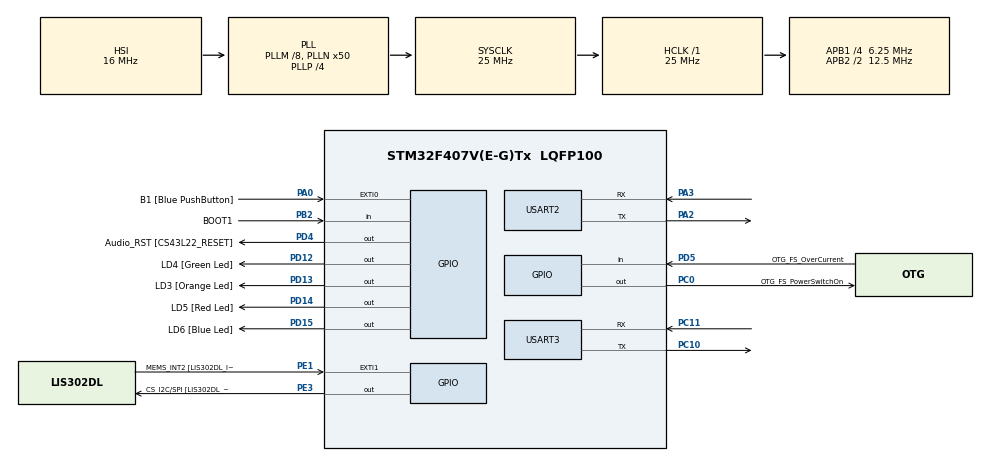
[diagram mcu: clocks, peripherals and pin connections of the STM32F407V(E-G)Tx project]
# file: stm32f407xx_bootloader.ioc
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Mcu.Family=STM32F4
Mcu.Name=STM32F407V(E-G)Tx
Mcu.Package=LQFP100
NVIC.PriorityGroup=NVIC_PRIORITYGROUP_0
PA0-WKUP.GPIO_Label=B1 [Blue PushButton]
PA0-WKUP.Signal=GPXTI0
PA10.GPIO_Label=OTG_FS_ID
PA10.GPIO_Mode=GPIO_MODE_AF_PP
PA10.GPIO_PuPd=GPIO_NOPULL
PA10.GPIO_Speed=GPIO_SPEED_FREQ_LOW
PA10.Signal=USB_OTG_FS_ID
PA11.GPIO_Label=OTG_FS_DM
PA11.GPIO_Mode=GPIO_MODE_AF_PP
PA11.GPIO_PuPd=GPIO_NOPULL
PA11.GPIO_Speed=GPIO_SPEED_FREQ_LOW
PA11.Signal=USB_OTG_FS_DM
PA12.GPIO_Label=OTG_FS_DP
PA12.GPIO_Mode=GPIO_MODE_AF_PP
PA12.GPIO_PuPd=GPIO_NOPULL
PA12.GPIO_Speed=GPIO_SPEED_FREQ_LOW
PA12.Signal=USB_OTG_FS_DP
PA13.GPIO_Label=SWDIO
PA13.Signal=SYS_JTMS-SWDIO
PA14.GPIO_Label=SWCLK
PA14.Signal=SYS_JTCK-SWCLK
PA2.Mode=Asynchronous
PA2.Signal=USART2_TX
PA3.Mode=Asynchronous
PA3.Signal=USART2_RX
PA4.GPIO_Label=I2S3_WS [CS43L22_LRCK]
PA4.GPIO_Mode=GPIO_MODE_AF_PP
PA4.GPIO_PuPd=GPIO_NOPULL
PA4.GPIO_Speed=GPIO_SPEED_FREQ_LOW
PA4.Signal=I2S3_WS
PA5.GPIO_Label=SPI1_SCK [LIS302DL_SCL/SPC]
PA5.GPIO_Mode=GPIO_MODE_AF_PP
PA5.GPIO_PuPd=GPIO_NOPULL
PA5.GPIO_Speed=GPIO_SPEED_FREQ_LOW
PA5.Signal=SPI1_SCK
PA6.GPIO_Label=SPI1_MISO [LIS302DL_SDO]
PA6.GPIO_Mode=GPIO_MODE_AF_PP
PA6.GPIO_PuPd=GPIO_NOPULL
PA6.GPIO_Speed=GPIO_SPEED_FREQ_LOW
PA6.Signal=SPI1_MISO
PA7.GPIO_Label=SPI1_MOSI [LIS302DL_SDA/SDI/SDO]
PA7.GPIO_Mode=GPIO_MODE_AF_PP
PA7.GPIO_PuPd=GPIO_NOPULL
PA7.GPIO_Speed=GPIO_SPEED_FREQ_LOW
PA7.Signal=SPI1_MOSI
PA9.GPIO_Label=VBUS_FS
PA9.GPIO_Mode=GPIO_MODE_INPUT
PA9.GPIO_PuPd=GPIO_NOPULL
PA9.Signal=USB_OTG_FS_VBUS
PB10.GPIO_Label=CLK_IN [MP45DT02_CLK]
PB10.GPIO_Mode=GPIO_MODE_AF_PP
PB10.GPIO_PuPd=GPIO_NOPULL
PB10.GPIO_Speed=GPIO_SPEED_FREQ_LOW
PB10.Signal=I2S2_CK
PB2.GPIO_Label=BOOT1
PB2.GPIO_Mode=GPIO_MODE_INPUT
PB2.GPIO_PuPd=GPIO_NOPULL
PB2.Signal=GPIO_Input
PB3.GPIO_Label=SWO
PB3.Signal=SYS_JTDO-SWO
PB6.GPIO_Label=Audio_SCL [CS43L22_SCL]
PB6.GPIO_Mode=GPIO_MODE_AF_OD
PB6.GPIO_PuPd=GPIO_NOPULL
PB6.GPIO_Speed=GPIO_SPEED_FREQ_LOW
PB6.Signal=I2C1_SCL
PB9.GPIO_Label=Audio_SDA [CS43L22_SDA]
PB9.GPIO_Mode=GPIO_MODE_AF_OD
PB9.GPIO_PuPd=GPIO_NOPULL
PB9.GPIO_Speed=GPIO_SPEED_FREQ_LOW
PB9.Signal=I2C1_SDA
PC0.GPIO_Label=OTG_FS_PowerSwitchOn
PC0.GPIO_PuPd=GPIO_NOPULL
PC0.GPIO_Speed=GPIO_SPEED_FREQ_LOW
PC0.PinState=GPIO_PIN_SET
PC0.Signal=GPIO_Output
PC10.Mode=Asynchronous
PC10.Signal=USART3_TX
PC11.Mode=Asynchronous
PC11.Signal=USART3_RX
PC12.GPIO_Label=I2S3_SD [CS43L22_SDIN]
PC12.GPIO_Mode=GPIO_MODE_AF_PP
PC12.GPIO_PuPd=GPIO_NOPULL
PC12.GPIO_Speed=GPIO_SPEED_FREQ_LOW
PC12.Signal=I2S3_SD
PC14-OSC32_IN.GPIO_Label=PC14-OSC32_IN
PC14-OSC32_IN.Signal=RCC_OSC32_IN
PC15-OSC32_OUT.GPIO_Label=PC15-OSC32_OUT
PC15-OSC32_OUT.Signal=RCC_OSC32_OUT
PC3.GPIO_Label=PDM_OUT [MP45DT02_DOUT]
PC3.GPIO_Mode=GPIO_MODE_AF_PP
PC3.GPIO_PuPd=GPIO_NOPULL
PC3.GPIO_Speed=GPIO_SPEED_FREQ_LOW
PC3.Signal=I2S2_SD
PC7.GPIO_Label=I2S3_MCK [CS43L22_MCLK]
PC7.GPIO_Mode=GPIO_MODE_AF_PP
PC7.GPIO_PuPd=GPIO_NOPULL
PC7.GPIO_Speed=GPIO_SPEED_FREQ_LOW
PC7.Signal=I2S3_MCK
PD12.GPIO_Label=LD4 [Green Led]
PD12.GPIO_PuPd=GPIO_NOPULL
PD12.GPIO_Speed=GPIO_SPEED_FREQ_LOW
PD12.Signal=GPIO_Output
PD13.GPIO_Label=LD3 [Orange Led]
PD13.GPIO_PuPd=GPIO_NOPULL
PD13.GPIO_Speed=GPIO_SPEED_FREQ_LOW
PD13.Signal=GPIO_Output
PD14.GPIO_Label=LD5 [Red Led]
PD14.GPIO_PuPd=GPIO_NOPULL
PD14.GPIO_Speed=GPIO_SPEED_FREQ_LOW
PD14.Signal=GPIO_Output
PD15.GPIO_Label=LD6 [Blue Led]
PD15.GPIO_PuPd=GPIO_NOPULL
PD15.GPIO_Speed=GPIO_SPEED_FREQ_LOW
PD15.Signal=GPIO_Output
PD4.GPIO_Label=Audio_RST [CS43L22_RESET]
PD4.GPIO_PuPd=GPIO_NOPULL
PD4.GPIO_Speed=GPIO_SPEED_FREQ_LOW
PD4.Signal=GPIO_Output
PD5.GPIO_Label=OTG_FS_OverCurrent
PD5.GPIO_Mode=GPIO_MODE_INPUT
PD5.GPIO_PuPd=GPIO_NOPULL
PD5.Signal=GPIO_Input
PE1.GPIO_Label=MEMS_INT2 [LIS302DL_INT2]
PE1.GPIO_ModeDefaultEXTI=GPIO_MODE_EVT_RISING
PE1.GPIO_PuPd=GPIO_NOPULL
PE1.Signal=GPXTI1
PE3.GPIO_Label=CS_I2C/SPI [LIS302DL_CS_I2C/SPI]
PE3.GPIO_PuPd=GPIO_NOPULL
PE3.GPIO_Speed=GPIO_SPEED_FREQ_LOW
PE3.Signal=GPIO_Output
PH0-OSC_IN.GPIO_Label=PH0-OSC_IN
PH0-OSC_IN.Signal=RCC_OSC_IN
PH1-OSC_OUT.GPIO_Label=PH1-OSC_OUT
PH1-OSC_OUT.Signal=RCC_OSC_OUT
ProjectManager.HeapSize=0x200
ProjectManager.StackSize=0x400
ProjectManager.TargetToolchain=MDK-ARM V5.32
RCC.48MHZClocksFreq_Value=14285714.285714285
RCC.AHBFreq_Value=25000000
RCC.APB1CLKDivider=RCC_HCLK_DIV4
RCC.APB1Freq_Value=6250000
RCC.APB1TimFreq_Value=12500000
RCC.APB2CLKDivider=RCC_HCLK_DIV2
RCC.APB2Freq_Value=12500000
RCC.APB2TimFreq_Value=25000000
RCC.CortexFreq_Value=25000000
RCC.HCLKFreq_Value=25000000
RCC.HSE_VALUE=8000000
RCC.HSI_VALUE=16000000
RCC.LSE_VALUE=32768
RCC.PLLM=8
RCC.PLLN=50
RCC.PLLP=RCC_PLLP_DIV4
RCC.PLLQ=7
RCC.SYSCLKFreq_VALUE=25000000
RCC.SYSCLKSource=RCC_SYSCLKSOURCE_PLLCLK
RCC.VCOOutputFreq_Value=100000000
USART2.VirtualMode=VM_ASYNC
USART3.VirtualMode=VM_ASYNC
VP_CRC_VS_CRC.Mode=CRC_Activate
board=STM32F407G-DISC1

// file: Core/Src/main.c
/* USER CODE BEGIN Header */
/**
  ******************************************************************************
  * @file           : main.c
  * @brief          : Main program body
  ******************************************************************************
  * @attention
  *
  * Copyright (c) 2023 STMicroelectronics.
  * All rights reserved.
  *
  * This software is licensed under terms that can be found in the LICENSE file
  * in the root directory of this software component.
  * If no LICENSE file comes with this software, it is provided AS-IS.
  *
  ******************************************************************************
  */
/* USER CODE END Header */

/* USER CODE BEGIN Includes */

#include <stdarg.h>
#include <string.h>
#include <stdio.h>	/* vsprintf */

#include "main.h"
#include "stm32f4xx_hal.h"

/* USER CODE END Includes */

/* USER CODE BEGIN PM */

#define BL_DEBUG_MSG_EN
#define D_UART					&huart3		/* Debug USART */
#define C_UART					&huart2		/* Virtual COM Port USART */
#define BL_RX_LEN				200
#define MAX_NUM_OF_SECTORS		12			/* STM32F407xx MCUs specific */

/* Flash option control register */
#define FLASH_OPTCR				(*(uint32_t volatile *)0x40023C14)

/* USER CODE END PM */

CRC_HandleTypeDef hcrc;

UART_HandleTypeDef huart2;
UART_HandleTypeDef huart3;

/* USER CODE BEGIN PV */

char data[] = "Message from bootloader\r\n";
uint8_t blRxBuffer[BL_RX_LEN];

uint8_t supportedCmds[] = {
	BL_GET_VER,
	BL_GET_HELP,
	BL_GET_CID,
	BL_GO_TO_ADDR,
	BL_ERASE_FLASH,
	BL_READ_MEM,
	BL_WRITE_MEM,
	BL_GET_RDP_LEVEL,
	BL_SET_RDP_LEVEL,
	BL_ENABLE_WRP,
	BL_DISABLE_WRP,
	BL_GET_WRP_STATUS,
	BL_READ_OTP,
};

/* USER CODE END PV */

void SystemClock_Config(void);
static void MX_GPIO_Init(void);
static void MX_CRC_Init(void);
static void MX_USART2_UART_Init(void);
static void MX_USART3_UART_Init(void);
/* USER CODE BEGIN PFP */

static void Print_Msg(char *format, ...);

/* USER CODE END PFP */

int main(void)
{

  /* MCU Configuration--------------------------------------------------------*/

  /* Reset of all peripherals, Initializes the Flash interface and the Systick. */
  HAL_Init();

  /* Configure the system clock */
  SystemClock_Config();

  /* Initialize all configured peripherals */
  MX_GPIO_Init();
  MX_CRC_Init();
  MX_USART2_UART_Init();
  MX_USART3_UART_Init();
  /* USER CODE BEGIN 2 */

	if (HAL_GPIO_ReadPin(B1_GPIO_Port, B1_Pin) == GPIO_PIN_SET)
	{
		Print_Msg("BL_DEBUG_MSG: Button pressed ... going to BL mode\n\r");

		/* Continue in the bootloader mode */
		Bootloader_UART_Read_Data();
	}
	else
	{
		Print_Msg("BL_DEBUG_MSG:: Button not pressed ... executing user application\n\r");
		Bootloader_Jump_To_User_App();
	}

  /* USER CODE END 2 */

  /* Infinite loop */
  while (1)
  {

  }
}

void Bootloader_UART_Read_Data(void)
{
	uint8_t rcvLen = 0;

	while (1)
	{
		memset(blRxBuffer, 0, 200);

		/* Read and decode the command coming from the host */

		/* First, read the first byte (i.e., the "Length to follow" field ) */
		HAL_UART_Receive(C_UART, blRxBuffer, 1, HAL_MAX_DELAY);
		rcvLen = blRxBuffer[0];	/* Number of the remaining bytes to read */

		/* Second, read the remaining bytes, first of which is the "Command code" */
		HAL_UART_Receive(C_UART, &blRxBuffer[1], rcvLen, HAL_MAX_DELAY);

		/* Decode the command code */
		switch (blRxBuffer[1])
		{
			case BL_GET_VER:
				Bootloader_GetVer_Cmd_Handler(blRxBuffer);
				break;
			case BL_GET_HELP:
				Bootloader_GetHelp_Cmd_Handler(blRxBuffer);
				break;
			case BL_GET_CID:
				Bootloader_GetCID_Cmd_Handler(blRxBuffer);
				break;
			case BL_GO_TO_ADDR:
				Bootloader_GoToAddr_Cmd_Handler(blRxBuffer);
				break;
			case BL_ERASE_FLASH:
				Bootloader_EraseFlash_Cmd_Handler(blRxBuffer);
				break;
			case BL_READ_MEM:
				Bootloader_ReadMem_Cmd_Handler(blRxBuffer);
				break;
			case BL_WRITE_MEM:
				Bootloader_WriteMem_Cmd_Handler(blRxBuffer);
				break;
			case BL_GET_RDP_LEVEL:
				Bootloader_GetRDPLevel_Cmd_Handler(blRxBuffer);
				break;
			case BL_SET_RDP_LEVEL:
				Bootloader_SetRDPLevel_Cmd_Handler(blRxBuffer);
				break;
			case BL_ENABLE_WRP:
				Bootloader_EnableWRP_Cmd_Handler(blRxBuffer);
				break;
			case BL_DISABLE_WRP:
				Bootloader_DisableWRP_Cmd_Handler(blRxBuffer);
				break;
			case BL_GET_WRP_STATUS:
				Bootloader_GetWRPStatus_Cmd_Handler(blRxBuffer);
				break;
			case BL_READ_OTP:
				Bootloader_ReadOTP_Cmd_Handler(blRxBuffer);
				break;
			default:
				Print_Msg("BL_DEBUG_MSG: Invalid command code received from the host\n");
				break;
		}
	}
}

/* Jump to the user application.
 * Here, we are assuming that the FLASH_SECTOR2_BASE_ADDRESS is where the user
 * application is stored
 * Note: Make sure to uncomment 'USER_VECT_TAB_ADDRESS' macro in the
 *       system_stm32f4xx.c file since we are relocating the vector table.
 */
void Bootloader_Jump_To_User_App(void)
{
	/* Function pointer to hold the address ofthe reset handler of the user app */
	void (*appResetHandler)(void);

	Print_Msg("BL_DEBUG_MSG: Bootloader_Jump_To_User_App()\n");

	/* 1. Configure the MSP by reading the value from the base address of the sector 2.
	 *    The very first element of the vector table holds the initial value of the msp.
	 */
	uint32_t msp = *(volatile uint32_t *)FLASH_SECTOR2_BASE_ADDRESS;
	Print_Msg("BL_DEBUG_MSG: MSP: %#x\n", msp);

	/* This function comes from CMSIS */
	__set_MSP(msp);

	//SCB->VTOR = FLASH_SECTOR1_BASE_ADDRESS;

	/* 2. Fetch the address of the Reset_Handler() of the user application from
	 *    the location FLASH_SECTOR2_BASE_ADDRESS+4
	 */
	uint32_t resetHandlerAddr = *(volatile uint32_t *)(FLASH_SECTOR2_BASE_ADDRESS + 4);

	appResetHandler = (void *)resetHandlerAddr;

	Print_Msg("BL_DEBUG_MSG: User application Reset_Handler() address: %#x\n", appResetHandler);

	/* Jumpt to the Reset_Handler() of the user application */
	appResetHandler();
}

/* Print a formatted string to console over USART for debugging */
void Print_Msg(char *format, ...)
{
#ifdef BL_DEBUG_MSG_EN
	char str[80];

	/* Extract the argument list using VA APIs */
	va_list args;
	va_start(args, format);
	vsprintf(str, format, args);
	HAL_UART_Transmit(D_UART, (uint8_t *)str, strlen(str), HAL_MAX_DELAY);
	va_end(args);
#endif
}

void SystemClock_Config(void)
{
  RCC_OscInitTypeDef RCC_OscInitStruct = {0};
  RCC_ClkInitTypeDef RCC_ClkInitStruct = {0};

  /** Configure the main internal regulator output voltage
  */
  __HAL_RCC_PWR_CLK_ENABLE();
  __HAL_PWR_VOLTAGESCALING_CONFIG(PWR_REGULATOR_VOLTAGE_SCALE1);

  /** Initializes the RCC Oscillators according to the specified parameters
  * in the RCC_OscInitTypeDef structure.
  */
  RCC_OscInitStruct.OscillatorType = RCC_OSCILLATORTYPE_HSI;
  RCC_OscInitStruct.HSIState = RCC_HSI_ON;
  RCC_OscInitStruct.HSICalibrationValue = RCC_HSICALIBRATION_DEFAULT;
  RCC_OscInitStruct.PLL.PLLState = RCC_PLL_ON;
  RCC_OscInitStruct.PLL.PLLSource = RCC_PLLSOURCE_HSI;
  RCC_OscInitStruct.PLL.PLLM = 8;
  RCC_OscInitStruct.PLL.PLLN = 50;
  RCC_OscInitStruct.PLL.PLLP = RCC_PLLP_DIV4;
  RCC_OscInitStruct.PLL.PLLQ = 7;
  if (HAL_RCC_OscConfig(&RCC_OscInitStruct) != HAL_OK)
  {
    Error_Handler();
  }

  /** Initializes the CPU, AHB and APB buses clocks
  */
  RCC_ClkInitStruct.ClockType = RCC_CLOCKTYPE_HCLK|RCC_CLOCKTYPE_SYSCLK
                              |RCC_CLOCKTYPE_PCLK1|RCC_CLOCKTYPE_PCLK2;
  RCC_ClkInitStruct.SYSCLKSource = RCC_SYSCLKSOURCE_PLLCLK;
  RCC_ClkInitStruct.AHBCLKDivider = RCC_SYSCLK_DIV1;
  RCC_ClkInitStruct.APB1CLKDivider = RCC_HCLK_DIV4;
  RCC_ClkInitStruct.APB2CLKDivider = RCC_HCLK_DIV2;

  if (HAL_RCC_ClockConfig(&RCC_ClkInitStruct, FLASH_LATENCY_0) != HAL_OK)
  {
    Error_Handler();
  }
}

static void MX_CRC_Init(void)
{

  hcrc.Instance = CRC;
  if (HAL_CRC_Init(&hcrc) != HAL_OK)
  {
    Error_Handler();
  }

}

static void MX_USART2_UART_Init(void)
{

  huart2.Instance = USART2;
  huart2.Init.BaudRate = 115200;
  huart2.Init.WordLength = UART_WORDLENGTH_8B;
  huart2.Init.StopBits = UART_STOPBITS_1;
  huart2.Init.Parity = UART_PARITY_NONE;
  huart2.Init.Mode = UART_MODE_TX_RX;
  huart2.Init.HwFlowCtl = UART_HWCONTROL_NONE;
  huart2.Init.OverSampling = UART_OVERSAMPLING_16;
  if (HAL_UART_Init(&huart2) != HAL_OK)
  {
    Error_Handler();
  }

}

static void MX_USART3_UART_Init(void)
{

  huart3.Instance = USART3;
  huart3.Init.BaudRate = 115200;
  huart3.Init.WordLength = UART_WORDLENGTH_8B;
  huart3.Init.StopBits = UART_STOPBITS_1;
  huart3.Init.Parity = UART_PARITY_NONE;
  huart3.Init.Mode = UART_MODE_TX_RX;
  huart3.Init.HwFlowCtl = UART_HWCONTROL_NONE;
  huart3.Init.OverSampling = UART_OVERSAMPLING_16;
  if (HAL_UART_Init(&huart3) != HAL_OK)
  {
    Error_Handler();
  }

}

static void MX_GPIO_Init(void)
{
  GPIO_InitTypeDef GPIO_InitStruct = {0};

  /* GPIO Ports Clock Enable */
  __HAL_RCC_GPIOE_CLK_ENABLE();
  __HAL_RCC_GPIOC_CLK_ENABLE();
  __HAL_RCC_GPIOH_CLK_ENABLE();
  __HAL_RCC_GPIOA_CLK_ENABLE();
  __HAL_RCC_GPIOB_CLK_ENABLE();
  __HAL_RCC_GPIOD_CLK_ENABLE();

  /*Configure GPIO pin Output Level */
  HAL_GPIO_WritePin(CS_I2C_SPI_GPIO_Port, CS_I2C_SPI_Pin, GPIO_PIN_RESET);

  /*Configure GPIO pin Output Level */
  HAL_GPIO_WritePin(OTG_FS_PowerSwitchOn_GPIO_Port, OTG_FS_PowerSwitchOn_Pin, GPIO_PIN_SET);

  /*Configure GPIO pin Output Level */
  HAL_GPIO_WritePin(GPIOD, LD4_Pin|LD3_Pin|LD5_Pin|LD6_Pin
                          |Audio_RST_Pin, GPIO_PIN_RESET);

  /*Configure GPIO pin : CS_I2C_SPI_Pin */
  GPIO_InitStruct.Pin = CS_I2C_SPI_Pin;
  GPIO_InitStruct.Mode = GPIO_MODE_OUTPUT_PP;
  GPIO_InitStruct.Pull = GPIO_NOPULL;
  GPIO_InitStruct.Speed = GPIO_SPEED_FREQ_LOW;
  HAL_GPIO_Init(CS_I2C_SPI_GPIO_Port, &GPIO_InitStruct);

  /*Configure GPIO pin : OTG_FS_PowerSwitchOn_Pin */
  GPIO_InitStruct.Pin = OTG_FS_PowerSwitchOn_Pin;
  GPIO_InitStruct.Mode = GPIO_MODE_OUTPUT_PP;
  GPIO_InitStruct.Pull = GPIO_NOPULL;
  GPIO_InitStruct.Speed = GPIO_SPEED_FREQ_LOW;
  HAL_GPIO_Init(OTG_FS_PowerSwitchOn_GPIO_Port, &GPIO_InitStruct);

  /*Configure GPIO pin : PDM_OUT_Pin */
  GPIO_InitStruct.Pin = PDM_OUT_Pin;
  GPIO_InitStruct.Mode = GPIO_MODE_AF_PP;
  GPIO_InitStruct.Pull = GPIO_NOPULL;
  GPIO_InitStruct.Speed = GPIO_SPEED_FREQ_LOW;
  GPIO_InitStruct.Alternate = GPIO_AF5_SPI2;
  HAL_GPIO_Init(PDM_OUT_GPIO_Port, &GPIO_InitStruct);

  /*Configure GPIO pin : B1_Pin */
  GPIO_InitStruct.Pin = B1_Pin;
  GPIO_InitStruct.Mode = GPIO_MODE_IT_RISING;
  GPIO_InitStruct.Pull = GPIO_NOPULL;
  HAL_GPIO_Init(B1_GPIO_Port, &GPIO_InitStruct);

  /*Configure GPIO pin : I2S3_WS_Pin */
  GPIO_InitStruct.Pin = I2S3_WS_Pin;
  GPIO_InitStruct.Mode = GPIO_MODE_AF_PP;
  GPIO_InitStruct.Pull = GPIO_NOPULL;
  GPIO_InitStruct.Speed = GPIO_SPEED_FREQ_LOW;
  GPIO_InitStruct.Alternate = GPIO_AF6_SPI3;
  HAL_GPIO_Init(I2S3_WS_GPIO_Port, &GPIO_InitStruct);

  /*Configure GPIO pins : SPI1_SCK_Pin SPI1_MISO_Pin SPI1_MOSI_Pin */
  GPIO_InitStruct.Pin = SPI1_SCK_Pin|SPI1_MISO_Pin|SPI1_MOSI_Pin;
  GPIO_InitStruct.Mode = GPIO_MODE_AF_PP;
  GPIO_InitStruct.Pull = GPIO_NOPULL;
  GPIO_InitStruct.Speed = GPIO_SPEED_FREQ_LOW;
  GPIO_InitStruct.Alternate = GPIO_AF5_SPI1;
  HAL_GPIO_Init(GPIOA, &GPIO_InitStruct);

  /*Configure GPIO pin : BOOT1_Pin */
  GPIO_InitStruct.Pin = BOOT1_Pin;
  GPIO_InitStruct.Mode = GPIO_MODE_INPUT;
  GPIO_InitStruct.Pull = GPIO_NOPULL;
  HAL_GPIO_Init(BOOT1_GPIO_Port, &GPIO_InitStruct);

  /*Configure GPIO pin : CLK_IN_Pin */
  GPIO_InitStruct.Pin = CLK_IN_Pin;
  GPIO_InitStruct.Mode = GPIO_MODE_AF_PP;
  GPIO_InitStruct.Pull = GPIO_NOPULL;
  GPIO_InitStruct.Speed = GPIO_SPEED_FREQ_LOW;
  GPIO_InitStruct.Alternate = GPIO_AF5_SPI2;
  HAL_GPIO_Init(CLK_IN_GPIO_Port, &GPIO_InitStruct);

  /*Configure GPIO pins : LD4_Pin LD3_Pin LD5_Pin LD6_Pin
                           Audio_RST_Pin */
  GPIO_InitStruct.Pin = LD4_Pin|LD3_Pin|LD5_Pin|LD6_Pin
                          |Audio_RST_Pin;
  GPIO_InitStruct.Mode = GPIO_MODE_OUTPUT_PP;
  GPIO_InitStruct.Pull = GPIO_NOPULL;
  GPIO_InitStruct.Speed = GPIO_SPEED_FREQ_LOW;
  HAL_GPIO_Init(GPIOD, &GPIO_InitStruct);

  /*Configure GPIO pins : I2S3_MCK_Pin I2S3_SD_Pin */
  GPIO_InitStruct.Pin = I2S3_MCK_Pin|I2S3_SD_Pin;
  GPIO_InitStruct.Mode = GPIO_MODE_AF_PP;
  GPIO_InitStruct.Pull = GPIO_NOPULL;
  GPIO_InitStruct.Speed = GPIO_SPEED_FREQ_LOW;
  GPIO_InitStruct.Alternate = GPIO_AF6_SPI3;
  HAL_GPIO_Init(GPIOC, &GPIO_InitStruct);

  /*Configure GPIO pin : VBUS_FS_Pin */
  GPIO_InitStruct.Pin = VBUS_FS_Pin;
  GPIO_InitStruct.Mode = GPIO_MODE_INPUT;
  GPIO_InitStruct.Pull = GPIO_NOPULL;
  HAL_GPIO_Init(VBUS_FS_GPIO_Port, &GPIO_InitStruct);

  /*Configure GPIO pins : OTG_FS_ID_Pin OTG_FS_DM_Pin OTG_FS_DP_Pin */
  GPIO_InitStruct.Pin = OTG_FS_ID_Pin|OTG_FS_DM_Pin|OTG_FS_DP_Pin;
  GPIO_InitStruct.Mode = GPIO_MODE_AF_PP;
  GPIO_InitStruct.Pull = GPIO_NOPULL;
  GPIO_InitStruct.Speed = GPIO_SPEED_FREQ_LOW;
  GPIO_InitStruct.Alternate = GPIO_AF10_OTG_FS;
  HAL_GPIO_Init(GPIOA, &GPIO_InitStruct);

  /*Configure GPIO pin : OTG_FS_OverCurrent_Pin */
  GPIO_InitStruct.Pin = OTG_FS_OverCurrent_Pin;
  GPIO_InitStruct.Mode = GPIO_MODE_INPUT;
  GPIO_InitStruct.Pull = GPIO_NOPULL;
  HAL_GPIO_Init(OTG_FS_OverCurrent_GPIO_Port, &GPIO_InitStruct);

  /*Configure GPIO pins : Audio_SCL_Pin Audio_SDA_Pin */
  GPIO_InitStruct.Pin = Audio_SCL_Pin|Audio_SDA_Pin;
  GPIO_InitStruct.Mode = GPIO_MODE_AF_OD;
  GPIO_InitStruct.Pull = GPIO_NOPULL;
  GPIO_InitStruct.Speed = GPIO_SPEED_FREQ_LOW;
  GPIO_InitStruct.Alternate = GPIO_AF4_I2C1;
  HAL_GPIO_Init(GPIOB, &GPIO_InitStruct);

  /*Configure GPIO pin : MEMS_INT2_Pin */
  GPIO_InitStruct.Pin = MEMS_INT2_Pin;
  GPIO_InitStruct.Mode = GPIO_MODE_EVT_RISING;
  GPIO_InitStruct.Pull = GPIO_NOPULL;
  HAL_GPIO_Init(MEMS_INT2_GPIO_Port, &GPIO_InitStruct);

}

/* USER CODE BEGIN 4 */

/**
 * Bootloader_GetVer_Cmd_Handler()
 * Brief	: Handles BL_GET_VER command
 * Param	: @pBLRxBuffer - Pointer to the bootloader's Rx buffer
 * Retval	: None
 * Note		: BL_GET_VER command is used to read the bootloader version from the
 *  		  MCU.
 */
void Bootloader_GetVer_Cmd_Handler(uint8_t *pBLRxBuffer)
{
	uint8_t blVersion;

	Print_Msg("BL_DEBUG_MSG: bootloader_getver_cmd_handler()\n");

	/* Total length of the command packet */
	uint32_t cmdPacketLen = pBLRxBuffer[0] + 1;

	/* Extract the CRC32 sent by the host */
	uint32_t crcHost = *((uint32_t *)(pBLRxBuffer + cmdPacketLen - 4));

	if (!Bootloader_Verify_CRC(&pBLRxBuffer[0], cmdPacketLen - 4, crcHost))
	{
		/* Checksum is correct */
		Print_Msg("BL_DEBUG_MSG: Checksum verification success!\n");

		/* Send ACK */
		Bootloader_Tx_ACK(pBLRxBuffer[0], 1);
		blVersion = Get_Bootloader_Version();
		Print_Msg("BL_DEBUG_MSG: BL_VER: %d %#x\n", blVersion, blVersion);

		/* Send response to the host */
		Bootloader_UART_Write_Data(&blVersion, 1);
	}
	else
	{
		/* Checksum is not correct */
		Print_Msg("BL_DEBUG_MSG: Checksum vrification fail!\n");

		/* Send NACK */
		Bootloader_Tx_NACK();
	}
} /* End of Bootloader_GetVer_Cmd_Handler */

/**
 * Bootloader_GetHelp_Cmd_Handler()
 * Brief	: Handles BL_GET_HELP command
 * Param	: @pBLRxBuffer - Pointer to the bootloader's Rx buffer
 * Retval	: None
 * Note		: BL_GET_HELP command is used to retrieve all the commands that are
 * 			  supported by the bootloader.
 */
void Bootloader_GetHelp_Cmd_Handler(uint8_t *pBLRxBuffer)
{
	Print_Msg("BL_DEBUG_MSG: Bootloader_GetHelp_Cmd_Handler()\n");

	/* Total length of the command packet */
	uint32_t cmdPacketLen = pBLRxBuffer[0] + 1;

	/* Extract the CRC32 sent by the host */
	uint32_t crcHost = *((uint32_t *)(pBLRxBuffer + cmdPacketLen - 4));

	if (!Bootloader_Verify_CRC(&pBLRxBuffer[0], cmdPacketLen - 4, crcHost))
	{
		/* Checksum is correct */
		Print_Msg("BL_DEBUG_MSG: Checksum verification success!\n");

		/* Send ACK */
		Bootloader_Tx_ACK(pBLRxBuffer[0], sizeof(supportedCmds));

		/* Send response to the host */
		Bootloader_UART_Write_Data(supportedCmds, sizeof(supportedCmds));
	}
	else
	{
		/* Checksum is not correct */
		Print_Msg("BL_DEBUG_MSG: Checksum vrification fail!\n");

		/* Send NACK */
		Bootloader_Tx_NACK();
	}
} /* End of Bootloader_GetHelp_Cmd_Handler */

/**
 * Bootloader_GetCID_Cmd_Handler()
 * Brief	: Handles BL_GET_CID command
 * Param	: @pBLRxBuffer - Pointer to the bootloader's Rx buffer
 * Retval	: None
 * Note		: BL_GET_CID command is used to read the MCU chip identification
 *			  number.
 *			  This function can be updated to read the Revision Identifier
 *			  (REV_ID) as well.
 */
void Bootloader_GetCID_Cmd_Handler(uint8_t *pBLRxBuffer)
{
	Print_Msg("BL_DEBUG_MSG: Bootloader_GetCID_Cmd_Handler()\n");

	uint16_t cid;

	/* Total length of the command packet */
	uint32_t cmdPacketLen = pBLRxBuffer[0] + 1;

	/* Extract the CRC32 sent by the host */
	uint32_t crcHost = *((uint32_t *)(pBLRxBuffer + cmdPacketLen - 4));

	if (!Bootloader_Verify_CRC(&pBLRxBuffer[0], cmdPacketLen - 4, crcHost))
	{
		/* Checksum is correct */
		Print_Msg("BL_DEBUG_MSG: Checksum verification success!\n");

		/* Send ACK */
		Bootloader_Tx_ACK(pBLRxBuffer[0], 2);

		cid = Get_MCU_Chip_ID();
		Print_Msg("BL_DEBUG_MSG: MCU Chip ID: %d %#x\n", cid, cid);

		/* Send response to the host */
		Bootloader_UART_Write_Data((uint8_t *)&cid, 2);
	}
	else
	{
		/* Checksum is not correct */
		Print_Msg("BL_DEBUG_MSG: Checksum vrification fail!\n");

		/* Send NACK */
		Bootloader_Tx_NACK();
	}
} /* End of Bootloader_GetCID_Cmd_Handler */

/**
 * Bootloader_GoToAddr_Cmd_Handler()
 * Brief	: Handles BL_GO_TO_ADDR command
 * Param	: @pBLRxBuffer - Pointer to the bootloader's Rx buffer
 * Retval	: None
 * Note		: BL_GO_TO_ADDR command is used to jump bootloader to specified
 *			  address.
 *			  A good way to test this functionality is to set the target
 *			  address to the reset handler of the user application and see if
 *			  the program successfully jumps to the user application. (Reset
 *			  handler is the entry point to the user application)
 *			  When entering the target address to the host application,
 *			  make sure to account for the T-bit setting. For example,
 *			  If the address of the user application's reset handler is
 *			  0x08008229, then enter 0x08008228.
 */
void Bootloader_GoToAddr_Cmd_Handler(uint8_t *pBLRxBuffer)
{
	uint32_t targetAddr = 0;
	uint8_t addrValid = ADDR_VALID;
	uint8_t addrInvalid = ADDR_INVALID;

	Print_Msg("BL_DEBUG_MSG: Bootloader_GoToAddr_Cmd_Handler\n");

	/* Total length of the command packet */
	uint32_t cmdPacketLen = pBLRxBuffer[0] + 1;

	/* Extract the CRC32 sent by the host */
	uint32_t crcHost = *((uint32_t *)(pBLRxBuffer + cmdPacketLen - 4));

	if (!Bootloader_Verify_CRC(&pBLRxBuffer[0], cmdPacketLen - 4, crcHost))
	{
		/* Checksum is correct */
		Print_Msg("BL_DEBUG_MSG: Checksum verification success!\n");

		/* Send ACK */
		Bootloader_Tx_ACK(pBLRxBuffer[0], 1);

		targetAddr = *((uint32_t *)&pBLRxBuffer[2]);
		Print_Msg("BL_DEBUG_MSG: Target address to jump to: %#x\n", targetAddr);

		if (Verify_Addr(targetAddr) == ADDR_VALID)
		{
			/* Notify the host that the address is valid */
			Bootloader_UART_Write_Data(&addrValid, 1);

			/* Jump to addr.
			 * Not executing the following line will trigger the hardfault
			 * exception for ARM Cortex-M processors.
			 * https://www.youtube.com/watch?v=VX_12SjnNhY
			 */
			targetAddr += 1;	/* Set T-bit to 1 */

			void (*jumpToTargetAddr)(void) = (void *)targetAddr;

			Print_Msg("BL_DEBUG_MSG: Jumping to the target address\n");

			jumpToTargetAddr();
		}
		else
		{
			Print_Msg("BL_DEBUG_MSG: Invalid target address\n");
			Bootloader_UART_Write_Data(&addrInvalid, 1);
		}
	}
	else
	{
		/* Checksum is not correct */
		Print_Msg("BL_DEBUG_MSG: Checksum vrification fail!\n");

		/* Send NACK */
		Bootloader_Tx_NACK();
	}
} /* End of Bootloader_GoToAddr_Cmd_Handler */

/**
 * Bootloader_EraseFlash_Cmd_Handler()
 * Brief	: Handles BL_ERASE_FLASH command
 * Param	: @pBLRxBuffer - Pointer to the bootloader's Rx buffer
 * Retval	: None
 * Note		: BL_ERASE_FLASH command is used to mass-erase or sector-erase the
 *			  user Flash. Erasing a byte of memory space means setting it to 0xFF.
 *			  Check out the 'Erase and program operations' section of the MCU
 *			  reference manual for more details about sector-erase and mass-erase.
 *			  This function will use Flash driver APIs to implement the erasing
 *			  functionality. (stn32f4xx_hal_flash_ex.c)
 */
void Bootloader_EraseFlash_Cmd_Handler(uint8_t *pBLRxBuffer)
{
	uint8_t eraseStatus = 0x00;
	Print_Msg("BL_DEBUG_MSG: Bootloader_EraseFlash_Cmd_Handler()\n");

	/* Total length of the command packet */
	uint32_t cmdPacketLen = pBLRxBuffer[0] + 1;

	/* Extract the CRC32 sent by the host */
	uint32_t crcHost = *((uint32_t *)(pBLRxBuffer + cmdPacketLen - 4));

	if (!Bootloader_Verify_CRC(&pBLRxBuffer[0], cmdPacketLen - 4, crcHost))
	{
		/* Checksum is correct */
		Print_Msg("BL_DEBUG_MSG: Checksum verification success!\n");

		/* Send ACK */
		Bootloader_Tx_ACK(pBLRxBuffer[0], 1);
		Print_Msg("BL_DEBUG_MSG: Initial sector: %d, number of sectors: %d\n", pBLRxBuffer[2], pBLRxBuffer[3]);

		/* Configure an on-board LED to turn on when the erase operation begins,
		 * and turn off when the operation ends.
		 */
		HAL_GPIO_WritePin(LD4_GPIO_PORT, LD4_Pin, 1);
		eraseStatus = Execute_Flash_Erase(pBLRxBuffer[2], pBLRxBuffer[3]);
		HAL_GPIO_WritePin(LD4_GPIO_PORT, LD4_Pin, 0);

		Print_Msg("BL_DEBUG_MSG: Flash erase status: %#x\n", eraseStatus);

		/* Send response to the host */
		Bootloader_UART_Write_Data(&eraseStatus, 1);
	}
	else
	{
		/* Checksum is not correct */
		Print_Msg("BL_DEBUG_MSG: Checksum vrification fail!\n");

		/* Send NACK */
		Bootloader_Tx_NACK();
	}
} /* End of Bootloader_EraseFlash_Cmd_Handler */

/**
 * Bootloader_ReadMem_Cmd_Handler()
 * Brief	: Handles BL_READ_MEM command
 * Param	: @pBLRxBuffer - Pointer to the bootloader's Rx buffer
 * Retval	: None
 * Note		: BL_READ_MEM command is used to read data from different memories of
 * 			  the MCU.
 */
void Bootloader_ReadMem_Cmd_Handler(uint8_t *pBLRxBuffer)
{
	// TODO
} /* End of Bootloader_ReadMem_Cmd_Handler */

/**
 * Bootloader_WriteMem_Cmd_Handler()
 * Brief	: Handles BL_WRITE_MEM command
 * Param	: @pBLRxBuffer - Pointer to the bootloader's Rx buffer
 * Retval	: None
 * Note		: BL_WRITE_MEM command is used to write data into different memories
 *			  of the MCU.
 *			  BL_WRITE_MEM command can handle writing maximum 255 bytes at once.
 *			  The host application will use this command repeatedly to write all
 *			  required data to the specified memory.
 *			  The bootloader then will write the contents of the 'payload' field
 *			  of the packet frame to the memory specified by the 'base memory
 *			  address' field.
 */
void Bootloader_WriteMem_Cmd_Handler(uint8_t *pBLRxBuffer)
{
	uint8_t addrValid = ADDR_VALID;
	uint8_t writeStatus = 0x00;
	uint8_t checksum = 0, len = 0;
	len = pBLRxBuffer[0];
	uint8_t payloadLen = pBLRxBuffer[6];

	uint32_t memAddr = *((uint32_t *)&pBLRxBuffer[2]);

	checksum = pBLRxBuffer[len];

	Print_Msg("BL_DEBUG_MSG: Bootloader_WriteMem_Cmd_Handler()\n");

	/* Total length of the command packet */
	uint32_t cmdPacketLen = pBLRxBuffer[0] + 1;

	/* Extract the CRC32 sent by the host */
	uint32_t crcHost = *((uint32_t *)(pBLRxBuffer + cmdPacketLen - 4));

	if (!Bootloader_Verify_CRC(&pBLRxBuffer[0], cmdPacketLen - 4, crcHost))
	{
		/* Checksum is correct */
		Print_Msg("BL_DEBUG_MSG: Checksum verification success!\n");

		/* Send ACK */
		Bootloader_Tx_ACK(pBLRxBuffer[0], 1);

		Print_Msg("BL_DEBUG_MSG: Memory address to write to: %#x\n", memAddr);

		if (Verify_Addr(memAddr) == ADDR_VALID)
		{
			Print_Msg("BL_DEBUG_MSG: Valid address for write\n");

			/* Turn on the LED to indicate that the bootloader's write operation is on */
			HAL_GPIO_WritePin(LD4_GPIO_PORT, LD4_PIN, GPIO_PIN_SET);
			/* Execute memory write */
			writeStatus = Execute_Memory_Write(&pBLRxBuffer[7], memAddr, payloadLen);

			/* Turn off the LED to indicate that the bootloader's write operation is over */
			HAL_GPIO_WritePin(LD4_GPIO_PORT, LD4_PIN, GPIO_PIN_RESET);

			/* Send response to the host */
			Bootloader_UART_Write_Data(&writeStatus, 1);
		}
		else
		{
			Print_Msg("BL_DEBUG_MSG: Invalid address for memory write\n");
			writeStatus = ADDR_INVALID;

			/* Send response to the host */
			Bootloader_UART_Write_Data(&writeStatus, 1);
		}
	}
	else
	{
		/* Checksum is not correct */
		Print_Msg("BL_DEBUG_MSG: Checksum vrification fail!\n");

		/* Send NACK */
		Bootloader_Tx_NACK();
	}
} /* End of Bootloader_WriteMem_Cmd_Handler */

/**
 * Bootloader_GetRDPLevel_Cmd_Handler()
 * Brief	: Handles BL_GET_RDP_LEVEL command
 * Param	: @pBLRxBuffer - Pointer to the bootloader's Rx buffer
 * Retval	: None
 * Note		: BL_GET_RDP_LEVEL command is used to read the Flash Read Protection
 *            (RDP) level.
 */
void Bootloader_GetRDPLevel_Cmd_Handler(uint8_t *pBLRxBuffer)
{
	uint8_t rdpLevel = 0x00;
	Print_Msg("BL_DEBUG_MSG: Bootloader_GetRDPLevel_Cmd_Handler()\n");

	/* Total length of the command packet */
	uint32_t cmdPacketLen = pBLRxBuffer[0] + 1;

	/* Extract the CRC32 sent by the host */
	uint32_t crcHost = *((uint32_t *)(pBLRxBuffer + cmdPacketLen - 4));

	if (!Bootloader_Verify_CRC(&pBLRxBuffer[0], cmdPacketLen - 4, crcHost))
	{
		/* Checksum is correct */
		Print_Msg("BL_DEBUG_MSG: Checksum verification success!\n");

		/* Send ACK */
		Bootloader_Tx_ACK(pBLRxBuffer[0], 1);

		rdpLevel = Get_Flash_RDP_Level();
		Print_Msg("BL_DEBUG_MSG: RDP level: %d %#x\n", rdpLevel, rdpLevel);

		/* Send response to the host */
		Bootloader_UART_Write_Data(&rdpLevel, 1);
	}
	else
	{
		/* Checksum is not correct */
		Print_Msg("BL_DEBUG_MSG: Checksum vrification fail!\n");

		/* Send NACK */
		Bootloader_Tx_NACK();
	}
} /* End of Bootloader_GetRDPLevel_Cmd_Handler */

/**
 * Bootloader_SetRDPLevel_Cmd_Handler()
 * Brief	: Handles BL_SET_RDP_LEVEL command
 * Param	: @pBLRxBuffer - Pointer to the bootloader's Rx buffer
 * Retval	: None
 * Note		: BL_SET_RDP_LEVEL command is used to set the Flash Read Protection
 *            (RDP) level.
 *			  - When Level 2 is activated, the Level of protection cannot be
 *				degraded to Level 1 or Level 0. This is an irreversible operation.
 *			  - Switching to Level 2 should only be done during the production
 *				phase to impose some restrictions before handing the product to
 *				the customer so that they cannot access or modify the production
 *				code.
 *			  - During the development phase, DO NOT change the RDP status to Level 2!
 */
void Bootloader_SetRDPLevel_Cmd_Handler(uint8_t *pBLRxBuffer)
{
	uint8_t rdpLevel;
	uint8_t status = 0x00;

	Print_Msg("BL_DEBUG_MSG: Bootloader_SetRDPLevel_Cmd_Handler()\n");

	/* Total length of the command packet */
	uint32_t cmdPacketLen = pBLRxBuffer[0] + 1;

	/* Extract the CRC32 sent by the host */
	uint32_t crcHost = *((uint32_t *)(pBLRxBuffer + cmdPacketLen - 4));

	if (!Bootloader_Verify_CRC(&pBLRxBuffer[0], cmdPacketLen - 4, crcHost))
	{
		/* Checksum is correct */
		Print_Msg("BL_DEBUG_MSG: Checksum verification success!\n");

		/* Send ACK */
		Bootloader_Tx_ACK(pBLRxBuffer[0], 1);

		rdpLevel = pBLRxBuffer[2];
		if (rdpLevel != 0 && rdpLevel != 1 && rdpLevel != 2)
			status = RDP_INVALID;
		else
			status = Set_Flash_RDP_Level(rdpLevel);

		Print_Msg("BL_DEBUG_MSG: Set RDP level status : %#x\n", status);

		/* Send response to the host */
		Bootloader_UART_Write_Data(&status, 1);
	}
	else
	{
		/* Checksum is not correct */
		Print_Msg("BL_DEBUG_MSG: Checksum vrification fail!\n");

		/* Send NACK */
		Bootloader_Tx_NACK();
	}
} /* End of Bootloader_SetRDPLevel_Cmd_Handler */

/**
 * Bootloader_EnableWRP_Cmd_Handler()
 * Brief	: Handles BL_ENABLE_WRP command
 * Param	: @pBLRxBuffer - Pointer to the bootloader's Rx buffer
 * Retval	: None
 * Note		: BL_ENABLE_WRP command is used to enable the Write Protection (WRP)
 *			  for the selected sectors of the user Flash memory.
 */
void Bootloader_EnableWRP_Cmd_Handler(uint8_t *pBLRxBuffer)
{
	uint8_t status = 0x00;
	uint16_t nwrp = 0x0000;
	Print_Msg("BL_DEBUG_MSG: Bootloader_EnableWRP_Cmd_Handler()\n");

	/* Total length of the command packet */
	uint32_t cmdPacketLen = pBLRxBuffer[0] + 1;

	/* Extract the CRC32 sent by the host */
	uint32_t crcHost = *((uint32_t *)(pBLRxBuffer + cmdPacketLen - 4));

	if (!Bootloader_Verify_CRC(&pBLRxBuffer[0], cmdPacketLen - 4, crcHost))
	{
		/* Checksum is correct */
		Print_Msg("BL_DEBUG_MSG: Checksum verification success!\n");

		/* Send ACK */
		Bootloader_Tx_ACK(pBLRxBuffer[0], 1);

		/* Configure 12-bit long nwrp bit field (Not write Protect) */
		nwrp |= (pBLRxBuffer[2] << 8) & 0xF00;
		nwrp |= pBLRxBuffer[3];

		status = Configure_Flash_WRP(nwrp, 0);

		Print_Msg("BL_DEBUG_MSG: Write protection enable status: %#x\n", status);

		/* Send response to the host */
		Bootloader_UART_Write_Data(&status, 1);
	}
	else
	{
		/* Checksum is not correct */
		Print_Msg("BL_DEBUG_MSG: Checksum vrification fail!\n");

		/* Send NACK */
		Bootloader_Tx_NACK();
	}
} /* End of Bootloader_EnableWRP_Cmd_Handler */

/**
 * Bootloader_DisableWRP_Cmd_Handler()
 * Brief	: Handles BL_DISABLE_WRP command
 * Param	: @pBLRxBuffer - Pointer to the bootloader's Rx buffer
 * Retval	: None
 * Note		: BL_DISABLE_WRP command is used to disable the Write Protection (WRP)
 *			  for all the sectors of the user Flash (i.e., Restores the default
 *			  protection state)
 */
void Bootloader_DisableWRP_Cmd_Handler(uint8_t *pBLRxBuffer)
{
	uint8_t status = 0x00;

	Print_Msg("BL_DEBUG_MSG: Bootloader_DisableWRP_Cmd_Handler()\n");

	/* Total length of the command packet */
	uint32_t cmdPacketLen = pBLRxBuffer[0] + 1;

	/* Extract the CRC32 sent by the host */
	uint32_t crcHost = *((uint32_t *)(pBLRxBuffer + cmdPacketLen - 4));

	if (!Bootloader_Verify_CRC(&pBLRxBuffer[0], cmdPacketLen - 4, crcHost))
	{
		/* Checksum is correct */
		Print_Msg("BL_DEBUG_MSG: Checksum verification success!\n");

		/* Send ACK */
		Bootloader_Tx_ACK(pBLRxBuffer[0], 1);

		status = Configure_Flash_WRP(0, 1);

		Print_Msg("BL_DEBUG_MSG: Write protection disable status: %#x\n", status);

		/* Send response to the host */
		Bootloader_UART_Write_Data(&status, 1);
	}
	else
	{
		/* Checksum is not correct */
		Print_Msg("BL_DEBUG_MSG: Checksum vrification fail!\n");

		/* Send NACK */
		Bootloader_Tx_NACK();
	}
} /* End of Bootloader_DisableWRP_Cmd_Handler */

/**
 * Bootloader_GetWRPStatus_Cmd_Handler()
 * Brief	: Handles BL_GET_WRP_STATUS command
 * Param	: @pBLRxBuffer - Pointer to the bootloader's Rx buffer
 * Retval	: None
 * Note		: BL_GET_WRP_STATUS command is used to read the Write Protection (WRP)
 *			  status of all the sectors of the user Flash memory.
 */
void Bootloader_GetWRPStatus_Cmd_Handler(uint8_t *pBLRxBuffer)
{
	uint16_t status;

	Print_Msg("BL_DEBUG_MSG: Bootloader_GetWRPStatus_Cmd_Handler()\n");

	/* Total length of the command packet */
	uint32_t cmdPacketLen = pBLRxBuffer[0] + 1;

	/* Extract the CRC32 sent by the host */
	uint32_t crcHost = *((uint32_t *)(pBLRxBuffer + cmdPacketLen - 4));

	if (!Bootloader_Verify_CRC(&pBLRxBuffer[0], cmdPacketLen - 4, crcHost))
	{
		/* Checksum is correct */
		Print_Msg("BL_DEBUG_MSG: Checksum verification success!\n");

		/* Send ACK */
		Bootloader_Tx_ACK(pBLRxBuffer[0], 2);

		status = Read_nWRP_Status();

		Print_Msg("BL_DEBUG_MSG: nWRP: %#x\n", status & 0x0FFF);

		/* Send response to the host */
		Bootloader_UART_Write_Data((uint8_t *)&status, 2); /* TODO */
	}
	else
	{
		/* Checksum is not correct */
		Print_Msg("BL_DEBUG_MSG: Checksum vrification fail!\n");

		/* Send NACK */
		Bootloader_Tx_NACK();
	}

} /* End of Bootloader_ReadProtectStatus_Cmd_Handler */

/**
 * Bootloader_ReadOTP_Cmd_Handler()
 * Brief	: Handles BL_READ_OTP command
 * Param	: @pBLRxBuffer - Pointer to the bootloader's Rx buffer
 * Retval	: None
 * Note		: BL_READ_OTP command is used to read the OTP contents
 */
void Bootloader_ReadOTP_Cmd_Handler(uint8_t *pBLRxBuffer)
{
	// TODO
} /* End of Bootloader_ReadOTP_Cmd_Handler */

/**
 * Bootloader_Tx_ACK()
 * Brief	: Sends ACK message to the host
 * Param	: @cmdCode - Command code received from the host
 *			: @lenToFollow - Length of the subsequent data bytes
 * Retval	: None
 */
void Bootloader_Tx_ACK(uint8_t cmdCode, uint8_t lenToFollow)
{
	/* ACKing incorporates 2 bytes; ACK , length to follow */
	uint8_t ackBuf[2];
	ackBuf[0] = BL_ACK;
	ackBuf[1] = lenToFollow;
	HAL_UART_Transmit(C_UART, ackBuf, 2, HAL_MAX_DELAY);
} /* End of Bootloader_Tx_ACK */

/**
 * Bootloader_Tx_NACK()
 * Brief	: Sends NACK message to the host
 * Param	: None
 * Retval	: None
 */
void Bootloader_Tx_NACK(void)
{
	/* NACKing incorporates 1 byte */
	uint8_t nack = BL_NACK;
	HAL_UART_Transmit(C_UART, &nack, 1, HAL_MAX_DELAY);
} /* End of Bootloader_Tx_NACK */

/**
 * Bootloader_Verify_CRC()
 * Brief	: Verifies the CRC of the given buffer in data
 * Param	: @pPacket - Pointer to the data for which the CRC has to be calculated
 *			: @len - Length for which the CRC has to be calculated
 *			: @crcHost - 32-bit crc value sent by the host
 * Retval	: 0 if CRC verification was successful, 1 otherwise.
 */
uint8_t Bootloader_Verify_CRC(uint8_t *pPacket, uint32_t len, uint32_t crcHost)
{
	uint32_t crc = 0xFF;

	for (uint32_t i = 0; i < len; i++)
	{
		uint32_t dataByte = pPacket[i];
		crc = HAL_CRC_Accumulate(&hcrc, &dataByte, 1);
	}
	/* Reset CRC Calculation unit.
	 * Without this, all CRC checks following the very first wone will fail.
	 */
	__HAL_CRC_DR_RESET(&hcrc);

	if (crc == crcHost)
	{
		return CRC_VERIFICATION_SUCCESS;
	}

	return CRC_VERIFICATION_FAIL;
} /* End of Bootloader_Verify_CRC */

/**
 * Bootloader_UART_Write_Data()
 * Brief	: Writes data to C_UART
 * Param	: @pBLRxBuffer - Pointer to the bootloader's Rx buffer
 *			: @len - Length of data to write
 * Retval	: None
 * Note		: This function is a wrapper function for 'HAL_UART_Transmit()'
 */
void Bootloader_UART_Write_Data(uint8_t *pBuffer, uint32_t len)
{
	HAL_UART_Transmit(C_UART, pBuffer, len, HAL_MAX_DELAY);
} /* End of Bootloader_UART_Write_Data */

/**
 * Get_Bootloader_Version()
 * Brief	: Returns the bootloader version macro value
 * Param	: None
 * Retval	: Bootloader version macro value
 */
uint8_t Get_Bootloader_Version(void)
{
	return (uint8_t)BL_VERSION;
} /* End of Get_Bootloader_Version */

/**
 * Get_MCU_Chip_ID()
 * Brief	: Returns the chip (or device) identifier
 * Param	: None
 * Retval	: 16-bit MCU chip identification number
 * Note		: For more information, see the "MCU device ID code" section of the
 *			  MCU reference manual. (DBGMCU_IDCODE; Address: 0xE0042000)
 *			  - Bit[31:16] - Revision identifier (REV_ID)
 *			  - Bit[11:0] - Device identifier (DEV_ID) - 0x413
 */
uint16_t Get_MCU_Chip_ID(void)
{
	return (uint16_t)(DBGMCU->IDCODE) & 0x0FFF;
} /* End of Get_MCU_Chip_ID */

/**
 * Get_Flash_RDP_Level()
 * Brief	: Returns the Flash memory RDP (Read Protection) level
 * Param	: None
 * Retval	: 8-bit RDP level
 * Note		: For more information, see the "Option Bytes" section of the MCU
 *			  reference manual.
 *			  Additional functions can be defined to handle RDP level change.
 */
uint8_t Get_Flash_RDP_Level(void)
{
	uint8_t rdpStatus = 0;
#if 0
	/* The following code shows how to use the APIs provided by the Flash driver
	 * of the ST hardware abstraction layer to achieve reading the RDP status.
	 */
	FLASH_OBProgramInitTypeDef obHandle;
	HAL_FLASHEx_OBGetConfig(&obHandle);
	rdpStatus = (uint8_t)obHandle.RDPLevel;
#else
	volatile uint32_t *pOB1Addr = (uint32_t *)0x1FFFC000; /* Option byte 1 addr */
	rdpStatus = (uint8_t)(*pOB1Addr >> 8);	/* Extract bits[15:8] */
#endif

	return rdpStatus;
} /* End of Get_Flash_RDP_Level */

/**
 * Set_Flash_RDP_Level()
 * Brief	: Modifies the user option bytes
 * Param	: @rdpLevel - Read Protection (RDP) level; 0, 1, or 2
 *			  to the default status otherwise
 * Retval	: 8-bit satus value; 0
 * Note		: To modify the user option value, follow the following sequence:
 *			  1. Check that no Flash memory operation is ongoing by checking the
 *				 BSY bit in the FLASH_SR register
 *			  2. Write the desired option value in the FLASH_OPTCR register
 *			  3. Set the option start bit (OPTSTRT) in the FLASH_OPTCR register
 *			  4. Wait for the BSY bit to be cleared
 *			  Please see the reference manual for more details.
 *			  This function is used by both 'Bootloader_SetRDPLevel_Cmd_Handler()'.
 */
uint8_t Set_Flash_RDP_Level(uint8_t rdpLevel)
{
	/* Configure read protection level according to @rdpLevel ----------------*/

	/* Option byte configuration unlock */
	HAL_FLASH_OB_Unlock();

	/* Wait till there's no active operation on Flash */
	while(__HAL_FLASH_GET_FLAG(FLASH_FLAG_BSY) != RESET);

	/* Clear bits[8:15] of FLASH_OPTCR before writing */
	FLASH_OPTCR &= ~(0xFF << 8);

	if (rdpLevel == 0)
	{
		/* Read protection level 0: Configure bits[8:15] of FLASH_OPTCR to 0xAA */
		FLASH_OPTCR |= (RDP_LEVEL0 << 8);
	}
	else if (rdpLevel == 1)
	{
		/* Read protection level 1: Configure bits[8:15] of FLASH_OPTCR to 0x00 */
		FLASH_OPTCR |= (RDP_LEVEL1 << 8);
	}
	else
	{
		/* Read protection level 1: Configure bits[8:15] of FLASH_OPTCR to 0xCC */
		FLASH_OPTCR |= (RDP_LEVEL2 << 8);
	}

	/* Set the option start bit (OPTSTRT) in the FLASH_OPTCR register */
	FLASH_OPTCR |= (0x1 << 1);

	/* Wait till there's no active operation on Flash */
	while(__HAL_FLASH_GET_FLAG(FLASH_FLAG_BSY) != RESET);

	HAL_FLASH_OB_Lock();

	return 0;
} /* End of Set_Flash_RDP_Level */

/**
 * Verify_Addr()
 * Brief	: Verifies the address sent by the host
 * Param	: @addr - Address sent by the host that is to be verified
 * Retval	: ADDR_VALID if the passed addr is valid, ADDR_INVALID otherwise
 * Note		: What are the valid address to which the code can jump?
 *			  - System memory: YES
 *			  - SRAM1: YES
 *			  - SRAM2: YES
 *			  - Backup SRAM: YES
 *			  - Peripheral memory: NO (Possible, but will not allow)
 *			  - External memory:	YES
 */
uint8_t Verify_Addr(uint32_t addr)
{
	if (SRAM1_BASE <= addr && addr <= SRAM1_END)
		return ADDR_VALID;
	else if (SRAM2_BASE <= addr && addr <= SRAM2_END)
		return ADDR_VALID;
	else if (FLASH_BASE <= addr && addr <= FLASH_END)
		return ADDR_VALID;
	else if (BKPSRAM_BASE <= addr && addr <= BKPSRAM_END)
		return ADDR_VALID;
	else
		return ADDR_INVALID;
} /* End of Verify_Addr */

/**
 * Execute_Flash_Erase()
 * Brief	: Performs Flash erase as per the passed arguments
 * Param	: @sectorNumber - The sector number (0-11) to erase or 0xFF to mass-
 *			  erase
 *			  @numberOfSectors - The number of sectors to erase
 * Retval	: 0x00 (HAL_OK) if the erase was successful
 *			  0x01 (HAL_ERROR) if the erase was unsuccessful due to error
 *			  0x02 (HAL_BUSY) if the erase was unsuccessful due to busy state
 *			  0x03 (HAL_TIMEOUT) if the erase was unsuccessful due to timeout
 *			  0x04 (INVALID_NUM_OF_SECTORS) if the entered number of sectors to
 *				   erase was invalid
 * Note		: Main memory of the Flash module of the STM32F407xx MCUs consists
 *			  of 12 sectors (0-11). Therefore, @numberOfSectors should be in the
 *			  range of 1-12.
 *			  @sectorNumber 0xFF means 'mass-erase'.
 */
uint8_t Execute_Flash_Erase(uint8_t sectorNumber, uint8_t numberOfSectors)
{
	FLASH_EraseInitTypeDef flashEraseHandle;
	uint32_t sectorError;
	HAL_StatusTypeDef status;

	if (numberOfSectors > MAX_NUM_OF_SECTORS)
		return INVALID_NUM_OF_SECTORS;

	if ((sectorNumber == 0xFF) || (sectorNumber < MAX_NUM_OF_SECTORS))
	{
		if (sectorNumber == (uint8_t)0xFF)
		{
			/* Perform mass-erase */
			flashEraseHandle.TypeErase = FLASH_TYPEERASE_MASSERASE;
		}
		else
		{
			/* Perform sector-erase */

			/* Calculate how many sectors need to be erased */
			uint8_t remainingSectors = MAX_NUM_OF_SECTORS - sectorNumber;
			if (numberOfSectors > remainingSectors)
			{
				numberOfSectors = remainingSectors;
			}

			/* Populate the flashEraseHandle structure */
			flashEraseHandle.TypeErase = FLASH_TYPEERASE_SECTORS;
			flashEraseHandle.Sector = sectorNumber;	/* Initial sector */
			flashEraseHandle.NbSectors = numberOfSectors;
		}

		flashEraseHandle.Banks = FLASH_BANK_1;

		/* In order to access the Flash registers, unlock the flash first.
		 * ('Unlocking the Flash control register' of the MCU reference manual)
		 */
		HAL_FLASH_Unlock();
		flashEraseHandle.VoltageRange = FLASH_VOLTAGE_RANGE_3;
		status = (uint8_t)HAL_FLASHEx_Erase(&flashEraseHandle, &sectorError);
		HAL_FLASH_Lock();

		return status;
	}

	return INVALID_NUM_OF_SECTORS;
} /* End of Execute_Flash_Erase */

/**
 * Execute_Memory_Write()
 * Brief	: Writes the contents of @pBuffer byte-by-byte to @memAddr
 * Param	: @pBuffer - Pointer to a buffer that contains data to write to
 *			  memory
 *			  @memAddr - Memory address to write to
 *			  @len - byte-length of the data to write
 * Retval	: HAL_OK		= 0x00U,
 *			  HAL_ERROR		= 0x01U,
 * 			  HAL_BUSY		= 0x02U,
 *			  HAL_TIMEOUT  	= 0x03U
 * Note		: Current implementation supports writing to Flash only.
 *			  This function does not check whether 'memAddr' is valid address of
 *			  the Flash range.
 *			  The API 'HAL_FLASH_Program' performs the Flash memory programming
 *			  according to the 'Flash memory programming sequence' described in
 *			  the 'Programming - Standard programming' section of the MCU
 *			  reference manual.
*/
uint8_t Execute_Memory_Write(uint8_t *pBuffer, uint32_t memAddr, uint32_t len)
{
	uint8_t status = HAL_OK;

	/* In order to access the Flash registers, unlock the flash first.
	 * ('Unlocking the Flash control register' of the MCU reference manual)
	 */
	HAL_FLASH_Unlock();/* USER CODE END 4 */

	for (uint32_t i = 0; i < len; i++)
	{
		/* Program the Flash byte-by-byte */
		status = HAL_FLASH_Program(FLASH_TYPEPROGRAM_BYTE, memAddr + i, pBuffer[i]);
	}

	HAL_FLASH_Lock();

	return status;
} /* End of Execute_Memory_Write */

/**
 * Configure_Flash_WRP()
 * Brief	: Modifies the user option bytes
 * Param	: @nwrp - Sector not write protect value
 *			  @disable - Allows configuring WRP status when 0, resets WRP back
 *			  to the default status otherwise
 * Retval	: 8-bit satus value; 0
 * Note		: To modify the user option value, follow the following sequence:
 *			  1. Check that no Flash memory operation is ongoing by checking the
 *				 BSY bit in the FLASH_SR register
 *			  2. Write the desired option value in the FLASH_OPTCR register
 *			  3. Set the option start bit (OPTSTRT) in the FLASH_OPTCR register
 *			  4. Wait for the BSY bit to be cleared
 *			  Please see the reference manual for more details.
 *			  This function is used by both
 *			  'Bootloader_EnableWRP_Cmd_Handler()', and
 *			  'Bootloader_DisableWRP_Cmd_Handler()'
 */
uint8_t Configure_Flash_WRP(uint16_t nwrp, uint8_t disable)
{
	if (disable)
	{
		/* Disable read/write protection on all the sectors of the user Flash
		 * (i.e., Restores the default protection state)
		 */

		/* Option byte configuration unlock */
		HAL_FLASH_OB_Unlock();

		/* Wait till there's no active operation on Flash */
		while(__HAL_FLASH_GET_FLAG(FLASH_FLAG_BSY) != RESET);

		/* Clear the protection; set all sector bits[27:16] (nWRPi) to 1 */
		FLASH_OPTCR |= (0xFFF << 16);

		/* Set the option start bit (OPTSTRT) in the FLASH_OPTCR register */
		FLASH_OPTCR |= (0x1 << 1);

		/* Wait till there's no active operation on Flash */
		while(__HAL_FLASH_GET_FLAG(FLASH_FLAG_BSY) != RESET);

		HAL_FLASH_OB_Lock();

		return 0;
	}

	/* Configure write protection on the sectors encoded in @nwrp ------------*/

	/* Option byte configuration unlock */
	HAL_FLASH_OB_Unlock();

	/* Wait till there's no active operation on Flash */
	while(__HAL_FLASH_GET_FLAG(FLASH_FLAG_BSY) != RESET);

	/* Set write protection on the sectors encoded in @sectorDetails */
	FLASH_OPTCR &= ~(nwrp << 16);

	/* Set the option start bit (OPTSTRT) in the FLASH_OPTCR register */
	FLASH_OPTCR |= (0x1 << 1);

	/* Wait till there's no active operation on Flash */
	while(__HAL_FLASH_GET_FLAG(FLASH_FLAG_BSY) != RESET);

	HAL_FLASH_OB_Lock();

	return 0;
} /* End of Configure_Flash_WRP */

/**
 * Read_nWRP_Status()
 * Brief	: Returns the Flash memory nWRP (Not Write Protect) status
 * Param	: None
 * Retval	: 16-bit nWRP status
 * Note		: For more information, see the "Option Bytes" section of the MCU
 *			  reference manual.
 */
uint16_t Read_nWRP_Status(void)
{
	uint16_t nwrp = 0;

	volatile uint32_t *pOB2Addr = (uint32_t *)0x1FFFC008; /* Option byte 2 addr */
	nwrp = *pOB2Addr & 0xFFF;	/* Extract bits[11:0] */

	return nwrp;
} /* End of Read_nWRP_Status */

void Error_Handler(void)
{
  __disable_irq();
  while (1)
  {
  }
}
